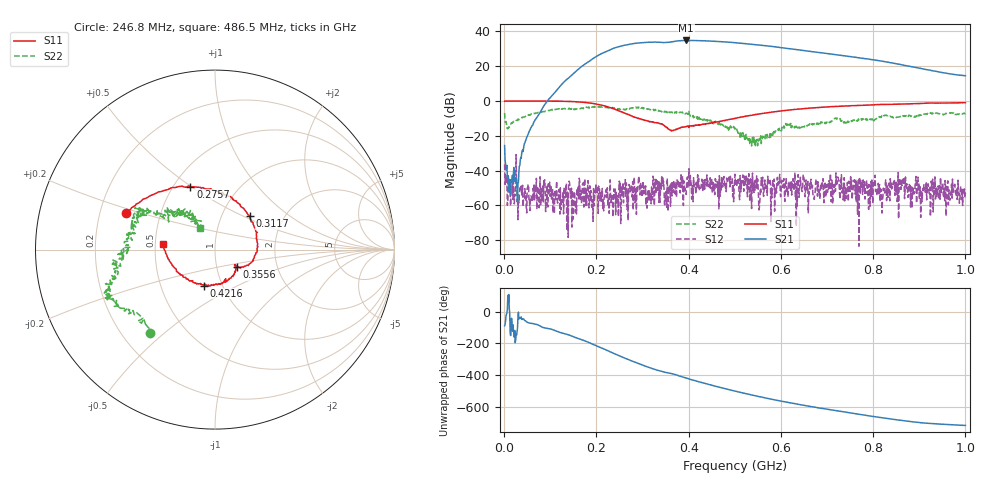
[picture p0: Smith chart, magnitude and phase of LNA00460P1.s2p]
! Created with skrf 1.9.0 (http://scikit-rf.org).
# Hz S RI R 50.0
!freq ReS11 ImS11 ReS21 ImS21 ReS12 ImS12 ReS22 ImS22
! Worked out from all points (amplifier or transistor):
!   1001 points, 1 MHz to 1 GHz, reference 50 ohm
!   highest |S21| = 34.8 dB at 394.6 MHz (marker M1)
!   |S21| within 3 dB of that: 256.8 MHz to 565.9 MHz (309.1 MHz wide, 75.1 % of centre)
!   unconditionally stable (mu >= 1): 204.9 MHz to 291.5 MHz; 292 MHz to 400.4 MHz; 401.1 MHz to end of sweep (the widest 3 of 29)
!   at 166.8 MHz: K = 1.83, MAG = 30.2 dB, |S12| = -51.4 dB
!   at 500.5 MHz: K = 1.40, MAG = 34.1 dB, |S12| = -42.1 dB
!   at 1 GHz: K = 6.00, MAG = 22.9 dB, |S12| = -52.7 dB
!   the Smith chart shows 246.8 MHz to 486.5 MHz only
!   S11 on the Smith chart (normalised r, x): 246.8 MHz: 0.31, +0.18; 275.7 MHz: 0.61, +0.50; 311.7 MHz: 1.36, +0.55; 355.6 MHz: 1.25, -0.25; 421.6 MHz: 0.82, -0.34; 486.5 MHz: 0.55, +0.04
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1000000  0.9806 0.0055  0.00036 -0.0524  -0.0102 -0.0112  0.3182 0.3241
1.08892e8  0.5208 -0.8469  -0.803 -1.506  -0.000563 0.000137  0.4348 -0.3679
1.67833e8  -0.2368 -0.8965  -9.794 -0.5438  -0.00104 -0.000427  0.0487 -0.6263
2.11789e8  -0.6765 -0.3375  -15.06 17.9  -0.000374 -0.00236  -0.1792 -0.6481
2.28772e8  -0.6583 -0.052  -9.018 27.88  -0.00235 0.000503  -0.274 -0.6134
2.46754e8  -0.4947 0.2049  3.052 35.91  -0.00121 -0.000877  -0.3622 -0.4672
2.75725e8  -0.1367 0.3508  28.32 33.41  -0.00383 2.15e-05  -0.5424 -0.3037
3.11689e8  0.1965 0.1855  47.71 9.082  -0.000624 0.00252  -0.5747 -0.145
3.34666e8  0.2342 -0.0135  48.03 -9.948  -0.00282 0.00389  -0.5112 -0.0145
3.55645e8  0.1238 -0.0978  43.79 -21.26  0.000108 -0.00066  -0.4758 0.0857
3.72628e8  0.1159 -0.1011  41.64 -32.99  0.00205 0.00439  -0.4605 0.1755
3.94606e8  0.0719 -0.1706  28.49 -47.15  1.72e-05 0.00207  -0.3985 0.202
4.21579e8  -0.0613 -0.2004  7.808 -53.64  0.00372 0.00469  -0.2224 0.1837
4.5055e8  -0.1927 -0.1369  -13.07 -51.38  0.00231 0.00261  -0.1591 0.1999
4.86514e8  -0.2877 0.03  -32.12 -37.24  0.00496 -0.0028  -0.0808 0.1209
5.005e8  -0.2933 0.11  -37.02 -30.09  0.00299 -0.0073  -0.1109 0.1105
5.4046e8  -0.2378 0.3189  -41.26 -9.193  0.00161 -0.00402  -0.054 0.0262
5.88412e8  -0.048 0.4906  -34.32 10.66  -0.00178 0.00104  -0.1296 -0.0387
6.67333e8  0.3299 0.5378  -13.3 22.5  -0.00292 -0.000237  -0.2226 -0.00125
7.53247e8  0.6319 0.374  3.058 18.44  -0.000219 -0.00533  -0.2543 0.049
8.34166e8  0.7875 0.144  9.066 9.182  -0.00427 -0.00095  -0.3613 0.0821
1e9  0.8121 -0.3855  5.335 0.2751  -0.00147 0.00179  -0.2002 0.384
